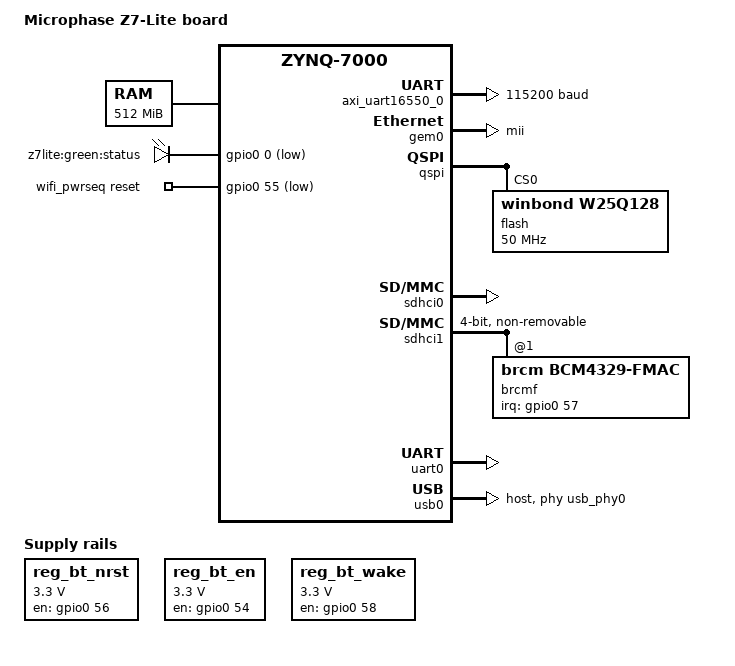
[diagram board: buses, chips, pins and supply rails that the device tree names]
// SPDX-License-Identifier: GPL-2.0+
/*
 *  Copyright (C) 2011 - 2015 Xilinx
 *  Copyright (C) 2012 National Instruments Corp.
 */
/dts-v1/;
#include "zynq-7000.dtsi"
#include <dt-bindings/gpio/gpio.h>
#include <dt-bindings/interrupt-controller/arm-gic.h>

/ {
	model = "Microphase Z7-Lite board";
	compatible = "microphase,zynq-microphase-z7-lite", "xlnx,zynq-microphase-z7-lite", "xlnx,zynq-7000";

	aliases {
		ethernet0 = &gem0;
		serial0 = &uart0;
		serial1 = &axi_uart16550_0;
		spi0 = &qspi;
		mmc0 = &sdhci0;
		mmc1 = &sdhci1;
	};

	memory@0 {
		device_type = "memory";
		reg = <0x0 0x20000000>;
	};

	chosen {
		bootargs = "";
		stdout-path = "serial0:115200n8";
	};

	gpio-leds {
		compatible = "gpio-leds";
		status {
			label = "z7lite:green:status";
			gpios = <&gpio0 0 GPIO_ACTIVE_LOW>; /* MIO0 */
			linux,default-trigger = "heartbeat";
		};
	};

	usb_phy0: phy0@e0002000 {
		compatible = "ulpi-phy";
		#phy-cells = <0>;
		reg = <0xe0002000 0x1000>;
		view-port = <0x0170>;
		drv-vbus;
	};

	wifi_pwrseq: wifi_pwrseq {
		compatible = "mmc-pwrseq-simple";
		pinctrl-names = "default";
		reset-gpios = <&gpio0 55 GPIO_ACTIVE_LOW>;
 	};

	reg_bt_nrst: bt-nrst {
		compatible = "regulator-fixed";
		regulator-name = "bt-nrst";
		regulator-min-microvolt = <3300000>;
		regulator-max-microvolt = <3300000>;
		enable-active-high;
		regulator-always-on;
		gpio = <&gpio0 56 GPIO_ACTIVE_HIGH>;
	};

	reg_bt_en: bt-en {
		compatible = "regulator-fixed";
		regulator-name = "bt-en";
		regulator-min-microvolt = <3300000>;
		regulator-max-microvolt = <3300000>;
		enable-active-high;
		regulator-always-on;
		gpio = <&gpio0 54 GPIO_ACTIVE_HIGH>;
	};

	reg_bt_wake: bt-wake {
		compatible = "regulator-fixed";
		regulator-name = "bt-wake";
		regulator-min-microvolt = <3300000>;
		regulator-max-microvolt = <3300000>;
		enable-active-high;
		regulator-always-on;
		gpio = <&gpio0 58 GPIO_ACTIVE_HIGH>;
	};

	amba_pl: amba_pl {
		#address-cells = <1>;
		#size-cells = <1>;
		compatible = "simple-bus";
		ranges ;
		axi_uart16550_0: serial@40000000 {
			clock-frequency = <100000000>;
			clock-names = "s_axi_aclk";
			clocks = <&misc_clk_0>;
			compatible = "xlnx,xps-uart16550-2.00.a", "ns16550a";
			current-speed = <115200>;
			device_type = "serial";
			interrupt-names = "ip2intc_irpt";
			interrupt-parent = <&intc>;
			interrupts = <0 29 4>;
			port-number = <0>;
			reg = <0x40000000 0x10000>;
			reg-offset = <0x1000>;
			reg-shift = <2>;
			xlnx,external-xin-clk-hz = <0x17d7840>;
			xlnx,external-xin-clk-hz-d = <0x19>;
			xlnx,has-external-rclk = <0x0>;
			xlnx,has-external-xin = <0x0>;
			xlnx,is-a-16550 = <0x1>;
			xlnx,s-axi-aclk-freq-hz-d = "100.0";
			xlnx,sim-device = "VERSAL_AI_CORE_ES1";
			xlnx,use-modem-ports = <0x1>;
			xlnx,use-user-ports = <0x1>;
		};
		misc_clk_0: misc_clk_0 {
			#clock-cells = <0>;
			clock-frequency = <100000000>;
			compatible = "fixed-clock";
		};
	};
};

&gem0 {
	phy-mode = "mii";
	status = "okay";
	xlnx,ptp-enet-clock = <0x69f6bcb>;
};

&clkc {
	ps-clk-frequency = <33333333>;
};

&qspi {
	u-boot,dm-pre-reloc;
	status = "okay";
	is-dual = <0>;
	num-cs = <1>;
	flash@0 {
		compatible = "winbond,w25q128", "jedec,spi-nor";
		reg = <0>;
		spi-tx-bus-width = <1>;
		spi-rx-bus-width = <4>;
		spi-max-frequency = <50000000>;
		m25p,fast-read;
		#address-cells = <1>;
		#size-cells = <1>;
	};
};

&sdhci0 {
	u-boot,dm-pre-reloc;
	status = "okay";
};

&sdhci1 {
	u-boot,dm-pre-reloc;
	status = "okay";
	bus-width = <4>;
	non-removable;
	max-frequency = <8000000>; /* Some idiot forgot to match trace length. */
	no-1-8-v;
	mmc-pwrseq = <&wifi_pwrseq>;

	brcmf: wifi@1 {
		reg = <1>;
		compatible = "brcm,bcm4329-fmac";
		interrupt-parent = <&gpio0>;
		interrupts = <57 IRQ_TYPE_LEVEL_LOW>; /* EMIO Pin 4 */
		interrupt-names = "host-wake";
	};
};

&uart0 {
	u-boot,dm-pre-reloc;
	status = "okay";
};

&usb0 {
	status = "okay";
	dr_mode = "host";
	usb-phy = <&usb_phy0>;
};
